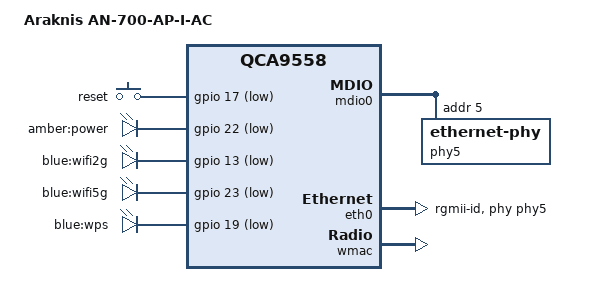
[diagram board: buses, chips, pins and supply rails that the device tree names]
// SPDX-License-Identifier: GPL-2.0-or-later OR MIT

#include "qca955x_senao_loader.dtsi"

#include <dt-bindings/gpio/gpio.h>
#include <dt-bindings/input/input.h>

/ {
	compatible = "araknis,an-700-ap-i-ac", "qca,qca9558";
	model = "Araknis AN-700-AP-I-AC";

	aliases {
		label-mac-device = &eth0;
		led-boot = &led_power;
		led-failsafe = &led_power;
		led-upgrade = &led_power;
	};

	keys {
		compatible = "gpio-keys";

		reset {
			linux,code = <KEY_RESTART>;
			gpios = <&gpio 17 GPIO_ACTIVE_LOW>;
			debounce-interval = <60>;
		};
	};

	leds {
		compatible = "gpio-leds";

		led_power: power {
			label = "amber:power";
			gpios = <&gpio 22 GPIO_ACTIVE_LOW>;
			default-state = "off";
		};

		wifi2g {
			label = "blue:wifi2g";
			gpios = <&gpio 13 GPIO_ACTIVE_LOW>;
			linux,default-trigger = "phy1tpt";
		};

		wifi5g {
			label = "blue:wifi5g";
			gpios = <&gpio 23 GPIO_ACTIVE_LOW>;
			linux,default-trigger = "phy0tpt";
		};

		wps {
			label = "blue:wps";
			gpios = <&gpio 19 GPIO_ACTIVE_LOW>;
		};
	};
};

&partitions {
	art: partition@ff0000 {
		label = "art";
		reg = <0xff0000 0x010000>;
		read-only;
	};
};

&mdio0 {
	status = "okay";

	phy5: ethernet-phy@5 {
		reg = <5>;
		eee-broken-100tx;
		eee-broken-1000t;
	};
};

&eth0 {
	status = "okay";

	nvmem-cells = <&macaddr_art_0>;
	nvmem-cell-names = "mac-address";

	phy-handle = <&phy5>;
	phy-mode = "rgmii-id";

	pll-data = <0x82000000 0x80000101 0x80001313>;
};

&wmac {
	status = "okay";

	mtd-cal-data = <&art 0x1000>;
	nvmem-cells = <&macaddr_art_0>;
	nvmem-cell-names = "mac-address";
	mac-address-increment = <1>;
};

&art {
	compatible = "nvmem-cells";
	#address-cells = <1>;
	#size-cells = <1>;

	macaddr_art_0: macaddr@0 {
		reg = <0x0 0x6>;
	};
};
